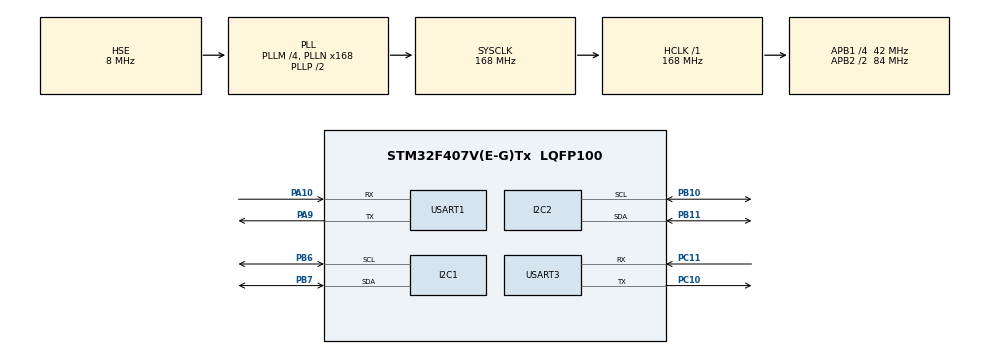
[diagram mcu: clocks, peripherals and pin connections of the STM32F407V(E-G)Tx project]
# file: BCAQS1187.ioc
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Mcu.Family=STM32F4
Mcu.Name=STM32F407V(E-G)Tx
Mcu.Package=LQFP100
NVIC.PriorityGroup=NVIC_PRIORITYGROUP_4
PA10.Mode=Asynchronous
PA10.Signal=USART1_RX
PA9.Mode=Asynchronous
PA9.Signal=USART1_TX
PB10.Mode=I2C
PB10.Signal=I2C2_SCL
PB11.Mode=I2C
PB11.Signal=I2C2_SDA
PB6.GPIO_PuPdOD=GPIO_NOPULL
PB6.Mode=I2C
PB6.Signal=I2C1_SCL
PB7.GPIO_PuPdOD=GPIO_NOPULL
PB7.Mode=I2C
PB7.Signal=I2C1_SDA
PC10.Mode=Asynchronous
PC10.Signal=USART3_TX
PC11.Mode=Asynchronous
PC11.Signal=USART3_RX
PH0-OSC_IN.Mode=HSE-External-Oscillator
PH0-OSC_IN.Signal=RCC_OSC_IN
PH1-OSC_OUT.Mode=HSE-External-Oscillator
PH1-OSC_OUT.Signal=RCC_OSC_OUT
ProjectManager.HeapSize=0x200
ProjectManager.StackSize=0x400
ProjectManager.TargetToolchain=MDK-ARM V5
RCC.48MHZClocksFreq_Value=84000000
RCC.AHBFreq_Value=168000000
RCC.APB1CLKDivider=RCC_HCLK_DIV4
RCC.APB1Freq_Value=42000000
RCC.APB1TimFreq_Value=84000000
RCC.APB2CLKDivider=RCC_HCLK_DIV2
RCC.APB2Freq_Value=84000000
RCC.APB2TimFreq_Value=168000000
RCC.CortexFreq_Value=168000000
RCC.HCLKFreq_Value=168000000
RCC.HSE_VALUE=8000000
RCC.HSI_VALUE=16000000
RCC.LSE_VALUE=32768
RCC.PLLM=4
RCC.PLLN=168
RCC.PLLSourceVirtual=RCC_PLLSOURCE_HSE
RCC.SYSCLKFreq_VALUE=168000000
RCC.SYSCLKSource=RCC_SYSCLKSOURCE_PLLCLK
RCC.VCOOutputFreq_Value=336000000
USART1.VirtualMode=VM_ASYNC
USART3.VirtualMode=VM_ASYNC
board=custom

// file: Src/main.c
/* USER CODE BEGIN Header */
/**
  ******************************************************************************
  * @file           : main.c
  * @brief          : Main program body
  ******************************************************************************
  ** This notice applies to any and all portions of this file
  * that are not between comment pairs USER CODE BEGIN and
  * USER CODE END. Other portions of this file, whether
  * inserted by the user or by software development tools
  * are owned by their respective copyright owners.
  *
  * COPYRIGHT(c) 2019 STMicroelectronics
  *
  * Redistribution and use in source and binary forms, with or without modification,
  * are permitted provided that the following conditions are met:
  *   1. Redistributions of source code must retain the above copyright notice,
  *      this list of conditions and the following disclaimer.
  *   2. Redistributions in binary form must reproduce the above copyright notice,
  *      this list of conditions and the following disclaimer in the documentation
  *      and/or other materials provided with the distribution.
  *   3. Neither the name of STMicroelectronics nor the names of its contributors
  *      may be used to endorse or promote products derived from this software
  *      without specific prior written permission.
  *
  * THIS SOFTWARE IS PROVIDED BY THE COPYRIGHT HOLDERS AND CONTRIBUTORS "AS IS"
  * AND ANY EXPRESS OR IMPLIED WARRANTIES, INCLUDING, BUT NOT LIMITED TO, THE
  * IMPLIED WARRANTIES OF MERCHANTABILITY AND FITNESS FOR A PARTICULAR PURPOSE ARE
  * DISCLAIMED. IN NO EVENT SHALL THE COPYRIGHT HOLDER OR CONTRIBUTORS BE LIABLE
  * FOR ANY DIRECT, INDIRECT, INCIDENTAL, SPECIAL, EXEMPLARY, OR CONSEQUENTIAL
  * DAMAGES (INCLUDING, BUT NOT LIMITED TO, PROCUREMENT OF SUBSTITUTE GOODS OR
  * SERVICES; LOSS OF USE, DATA, OR PROFITS; OR BUSINESS INTERRUPTION) HOWEVER
  * CAUSED AND ON ANY THEORY OF LIABILITY, WHETHER IN CONTRACT, STRICT LIABILITY,
  * OR TORT (INCLUDING NEGLIGENCE OR OTHERWISE) ARISING IN ANY WAY OUT OF THE USE
  * OF THIS SOFTWARE, EVEN IF ADVISED OF THE POSSIBILITY OF SUCH DAMAGE.
  *
  ******************************************************************************
  */
/* USER CODE END Header */

#include "main.h"

/* USER CODE BEGIN Includes */
#include <stdio.h>
#include "BCAQS1187.h"
/* USER CODE END Includes */

/* USER CODE BEGIN PD */
#define BCAQS1187_ADDR 0x5A  //CSS811
/* USER CODE END PD */

I2C_HandleTypeDef hi2c1;
I2C_HandleTypeDef hi2c2;

UART_HandleTypeDef huart1;
UART_HandleTypeDef huart3;

void SystemClock_Config(void);
static void MX_GPIO_Init(void);
static void MX_I2C2_Init(void);
static void MX_USART3_UART_Init(void);
static void MX_I2C1_Init(void);
static void MX_USART1_UART_Init(void);
/* USER CODE BEGIN PFP */
void sensorInitialize(void);
void readSensorData(void);
/* USER CODE END PFP */

/* USER CODE BEGIN 0 */
int fputc(int ch, FILE *f)
{
	HAL_UART_Transmit(&huart1, (uint8_t *)&ch, 1, 0xFFFF);

	return ch;
}
/* USER CODE END 0 */

int main(void)
{

  /* MCU Configuration--------------------------------------------------------*/

  /* Reset of all peripherals, Initializes the Flash interface and the Systick. */
  HAL_Init();

  /* Configure the system clock */
  SystemClock_Config();

  /* Initialize all configured peripherals */
  MX_GPIO_Init();
  MX_I2C2_Init();
  MX_USART3_UART_Init();
  MX_I2C1_Init();
  MX_USART1_UART_Init();
  /* USER CODE BEGIN 2 */
	sensorInitialize();
  /* USER CODE END 2 */

  /* Infinite loop */
  /* USER CODE BEGIN WHILE */
  while (1)
  {
		readSensorData();
		HAL_Delay(1000);
    /* USER CODE END WHILE */

  }
}

void SystemClock_Config(void)
{
  RCC_OscInitTypeDef RCC_OscInitStruct = {0};
  RCC_ClkInitTypeDef RCC_ClkInitStruct = {0};

  /**Configure the main internal regulator output voltage
  */
  __HAL_RCC_PWR_CLK_ENABLE();
  __HAL_PWR_VOLTAGESCALING_CONFIG(PWR_REGULATOR_VOLTAGE_SCALE1);
  /**Initializes the CPU, AHB and APB busses clocks
  */
  RCC_OscInitStruct.OscillatorType = RCC_OSCILLATORTYPE_HSE;
  RCC_OscInitStruct.HSEState = RCC_HSE_ON;
  RCC_OscInitStruct.PLL.PLLState = RCC_PLL_ON;
  RCC_OscInitStruct.PLL.PLLSource = RCC_PLLSOURCE_HSE;
  RCC_OscInitStruct.PLL.PLLM = 4;
  RCC_OscInitStruct.PLL.PLLN = 168;
  RCC_OscInitStruct.PLL.PLLP = RCC_PLLP_DIV2;
  RCC_OscInitStruct.PLL.PLLQ = 4;
  if (HAL_RCC_OscConfig(&RCC_OscInitStruct) != HAL_OK)
  {
    Error_Handler();
  }
  /**Initializes the CPU, AHB and APB busses clocks
  */
  RCC_ClkInitStruct.ClockType = RCC_CLOCKTYPE_HCLK|RCC_CLOCKTYPE_SYSCLK
                              |RCC_CLOCKTYPE_PCLK1|RCC_CLOCKTYPE_PCLK2;
  RCC_ClkInitStruct.SYSCLKSource = RCC_SYSCLKSOURCE_PLLCLK;
  RCC_ClkInitStruct.AHBCLKDivider = RCC_SYSCLK_DIV1;
  RCC_ClkInitStruct.APB1CLKDivider = RCC_HCLK_DIV4;
  RCC_ClkInitStruct.APB2CLKDivider = RCC_HCLK_DIV2;

  if (HAL_RCC_ClockConfig(&RCC_ClkInitStruct, FLASH_LATENCY_5) != HAL_OK)
  {
    Error_Handler();
  }
}

static void MX_I2C1_Init(void)
{

  hi2c1.Instance = I2C1;
  hi2c1.Init.ClockSpeed = 100000;
  hi2c1.Init.DutyCycle = I2C_DUTYCYCLE_2;
  hi2c1.Init.OwnAddress1 = 0;
  hi2c1.Init.AddressingMode = I2C_ADDRESSINGMODE_7BIT;
  hi2c1.Init.DualAddressMode = I2C_DUALADDRESS_DISABLE;
  hi2c1.Init.OwnAddress2 = 0;
  hi2c1.Init.GeneralCallMode = I2C_GENERALCALL_DISABLE;
  hi2c1.Init.NoStretchMode = I2C_NOSTRETCH_DISABLE;
  if (HAL_I2C_Init(&hi2c1) != HAL_OK)
  {
    Error_Handler();
  }

}

static void MX_I2C2_Init(void)
{

  hi2c2.Instance = I2C2;
  hi2c2.Init.ClockSpeed = 100000;
  hi2c2.Init.DutyCycle = I2C_DUTYCYCLE_2;
  hi2c2.Init.OwnAddress1 = 0;
  hi2c2.Init.AddressingMode = I2C_ADDRESSINGMODE_7BIT;
  hi2c2.Init.DualAddressMode = I2C_DUALADDRESS_DISABLE;
  hi2c2.Init.OwnAddress2 = 0;
  hi2c2.Init.GeneralCallMode = I2C_GENERALCALL_DISABLE;
  hi2c2.Init.NoStretchMode = I2C_NOSTRETCH_DISABLE;
  if (HAL_I2C_Init(&hi2c2) != HAL_OK)
  {
    Error_Handler();
  }

}

static void MX_USART1_UART_Init(void)
{

  huart1.Instance = USART1;
  huart1.Init.BaudRate = 115200;
  huart1.Init.WordLength = UART_WORDLENGTH_8B;
  huart1.Init.StopBits = UART_STOPBITS_1;
  huart1.Init.Parity = UART_PARITY_NONE;
  huart1.Init.Mode = UART_MODE_TX_RX;
  huart1.Init.HwFlowCtl = UART_HWCONTROL_NONE;
  huart1.Init.OverSampling = UART_OVERSAMPLING_16;
  if (HAL_UART_Init(&huart1) != HAL_OK)
  {
    Error_Handler();
  }

}

static void MX_USART3_UART_Init(void)
{

  huart3.Instance = USART3;
  huart3.Init.BaudRate = 115200;
  huart3.Init.WordLength = UART_WORDLENGTH_8B;
  huart3.Init.StopBits = UART_STOPBITS_1;
  huart3.Init.Parity = UART_PARITY_NONE;
  huart3.Init.Mode = UART_MODE_TX_RX;
  huart3.Init.HwFlowCtl = UART_HWCONTROL_NONE;
  huart3.Init.OverSampling = UART_OVERSAMPLING_16;
  if (HAL_UART_Init(&huart3) != HAL_OK)
  {
    Error_Handler();
  }

}

static void MX_GPIO_Init(void)
{

  /* GPIO Ports Clock Enable */
  __HAL_RCC_GPIOH_CLK_ENABLE();
  __HAL_RCC_GPIOB_CLK_ENABLE();
  __HAL_RCC_GPIOA_CLK_ENABLE();
  __HAL_RCC_GPIOC_CLK_ENABLE();

}

/* USER CODE BEGIN 4 */
void sensorInitialize(void){
  printf("[BCAQS1187] Indoor Air Quarity Sensor Enabled\n");

	BCAQS1187_init(BCAQS1187_ADDR, &hi2c1);
  BCAQS1187_SWReset();
  HAL_Delay(100);
  BCAQS1187_appStart();
  BCAQS1187_setThresholds((uint16_t) 1500, (uint16_t) 2500, (uint8_t) 50);
  BCAQS1187_setDriveMode(BCAQS1187_DRIVE_MODE_1SEC);

  printf("Initialized BC Sensors Series\n");
	printf("\n");
}

void readSensorData()
{
  BCAQS1187_readResultData();
  printf("[BCAQS1187] TVOC : %d ppb     eCO2 :  %d ppm\n\r", BCAQS1187_getTVOC(), BCAQS1187_geteCO2());
}
/* USER CODE END 4 */

void Error_Handler(void)
{
}

/************************ (C) COPYRIGHT STMicroelectronics *****END OF FILE****/
